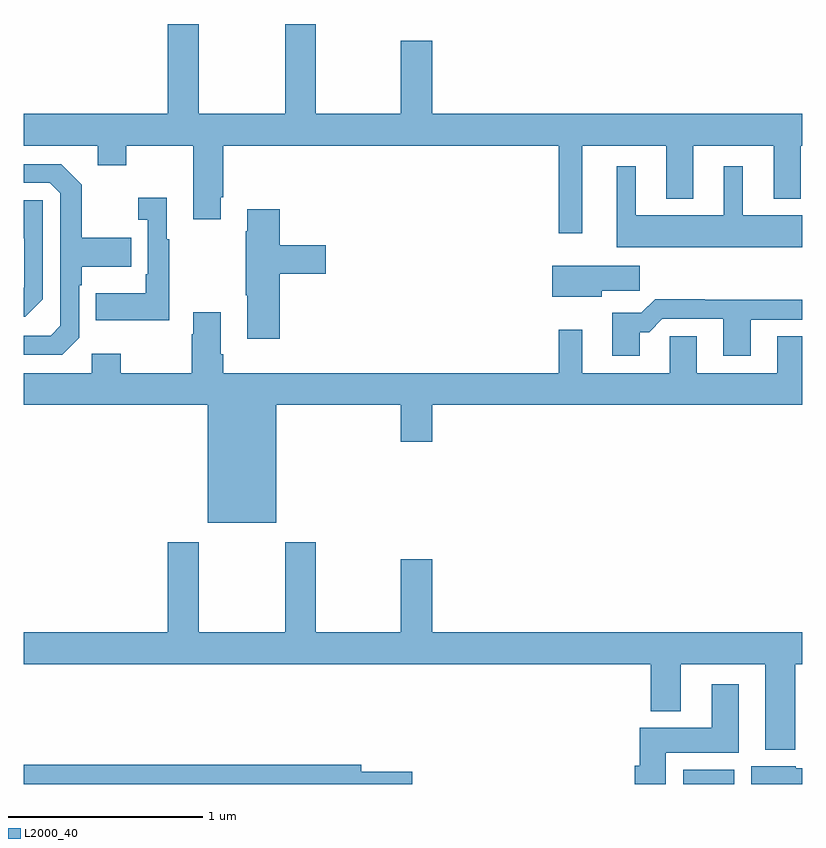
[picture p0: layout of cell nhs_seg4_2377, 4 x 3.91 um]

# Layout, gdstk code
import gdstk
lib = gdstk.Library(unit=1e-6, precision=1e-09)
def R(c, l, rs):  # rectangles x0, y0, x1, y1
    for r in rs: c.add(gdstk.rectangle(r[:2], r[2:], *l))
def P(c, l, *ps):  # polygons
    for p in ps: c.add(gdstk.Polygon(p, *l))
L2000_40 = (2000, 40)

nhs_seg4_2377 = lib.new_cell('nhs_seg4_2377')
R(nhs_seg4_2377, L2000_40, [(238.388,766.9,238.651,766.972)])
P(nhs_seg4_2377, L2000_40, [(237.871,770.18),(238.301,770.18),(238.301,769.907),(238.441,769.907),(238.441,770.18),(238.853,770.18),(238.853,769.907),(238.993,769.907),(238.993,770.18),(239,770.18),(239,770.344),(237.1,770.344),(237.1,770.719),(236.936,770.719),(236.936,770.344),(236.499,770.344),(236.499,770.806),(236.344,770.806),(236.344,770.344),(235.899,770.344),(235.899,770.806),(235.739,770.806),(235.739,770.344),(235,770.344),(235,770.18),(235.379,770.18),(235.379,770.081),(235.527,770.081),(235.527,770.18),(235.871,770.18),(235.871,769.803),(236.011,769.803),(236.011,769.915),(236.024,769.915),(236.024,770.18),(237.75,770.18),(237.75,769.731),(237.871,769.731)],
  [(235.284,769.194),(235.284,769.463),(235.297,769.463),(235.297,769.559),(235.553,769.559),(235.553,769.707),(235.297,769.707),(235.297,769.979),(235.191,770.085),(235,770.085),(235,769.989),(235.134,769.989),(235.188,769.935),(235.188,769.254),(235.137,769.203),(235,769.203),(235,769.107),(235.197,769.107)],
  [(239,769.822),(238.696,769.822),(238.696,770.074),(238.598,770.074),(238.598,769.822),(238.144,769.822),(238.144,770.074),(238.046,770.074),(238.046,769.658),(239,769.658)],
  [(235.747,769.699),(235.735,769.699),(235.735,769.912),(235.587,769.912),(235.587,769.799),(235.638,769.799),(235.638,769.519),(235.626,769.519),(235.626,769.423),(235.369,769.423),(235.369,769.283),(235.747,769.283)],
  [(235.098,769.392),(235.098,769.899),(235,769.899),(235,769.706),(235.002,769.706),(235.002,769.452),(235,769.45),(235,769.302),(235.008,769.302)],
  [(236.315,769.523),(236.551,769.523),(236.551,769.67),(236.315,769.67),(236.315,769.855),(236.147,769.855),(236.147,769.742),(236.14,769.742),(236.14,769.411),(236.147,769.411),(236.147,769.188),(236.315,769.188)],
  [(237.97,769.435),(238.165,769.435),(238.165,769.564),(237.716,769.564),(237.716,769.403),(237.97,769.403)],
  [(238.165,769.223),(238.214,769.223),(238.281,769.29),(238.595,769.29),(238.595,769.101),(238.735,769.101),(238.735,769.287),(239,769.287),(239,769.388),(238.499,769.388),(238.499,769.391),(238.244,769.391),(238.174,769.321),(238.025,769.321),(238.025,769.101),(238.165,769.101)],
  [(236.296,768.848),(236.936,768.848),(236.936,768.66),(237.1,768.66),(237.1,768.848),(239,768.848),(239,769.202),(238.871,769.202),(238.871,769.012),(238.459,769.012),(238.459,769.202),(238.32,769.202),(238.32,769.012),(237.871,769.012),(237.871,769.234),(237.75,769.234),(237.75,769.012),(236.024,769.012),(236.024,769.108),(236.011,769.108),(236.011,769.324),(235.871,769.324),(235.871,769.211),(235.864,769.211),(235.864,769.012),(235.497,769.012),(235.497,769.111),(235.35,769.111),(235.35,769.012),(235,769.012),(235,768.848),(235.946,768.848),(235.946,768.242),(236.296,768.242)],
  [(238.964,767.516),(239,767.516),(239,767.68),(237.1,767.68),(237.1,768.055),(236.936,768.055),(236.936,767.68),(236.499,767.68),(236.499,768.142),(236.344,768.142),(236.344,767.68),(235.899,767.68),(235.899,768.142),(235.739,768.142),(235.739,767.68),(235,767.68),(235,767.516),(238.223,767.516),(238.223,767.273),(238.375,767.273),(238.375,767.516),(238.811,767.516),(238.811,767.075),(238.964,767.075)],
  [(238.3,767.06),(238.675,767.06),(238.675,767.413),(238.535,767.413),(238.535,767.188),(238.166,767.188),(238.166,766.993),(238.139,766.993),(238.139,766.9),(238.3,766.9)],
  [(236.995,766.964),(236.734,766.964),(236.734,767),(235,767),(235,766.9),(236.995,766.9)],
  [(239,766.98),(238.968,766.98),(238.968,766.99),(238.739,766.99),(238.739,766.9),(239,766.9)])

lib.write_gds('nhs_seg4_2377.gds')
